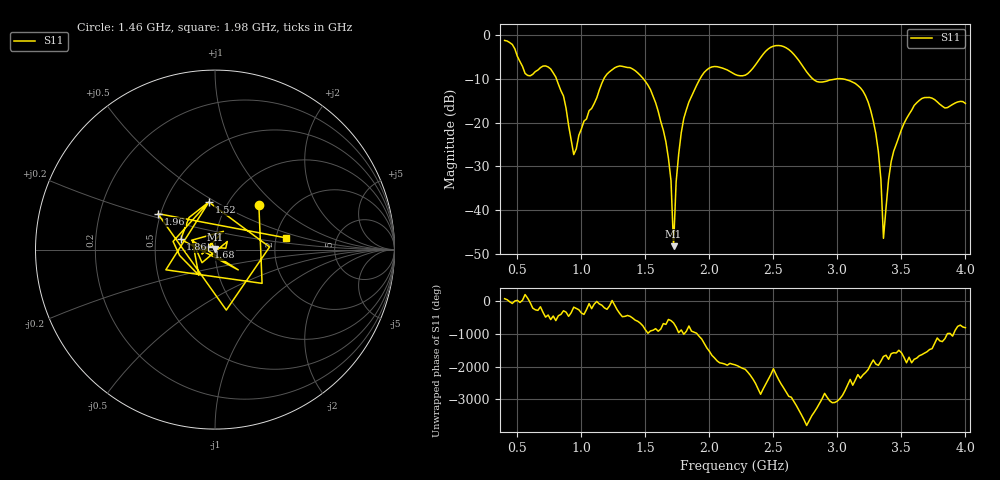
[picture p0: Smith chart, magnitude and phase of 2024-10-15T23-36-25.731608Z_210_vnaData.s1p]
! Created with skrf (http://scikit-rf.org).
# Hz S RI R 50.0
!freq ReS11 ImS11
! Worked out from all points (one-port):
!   181 points, 400 MHz to 4 GHz, reference 50 ohm
!   lowest |S11| = -48.3 dB at 1.72 GHz (marker M1), VSWR 1.01, Z = 50.2 + j0.311 ohm
!   |S11| at or under -10 dB: 805.2 MHz to 1.175 GHz (370.1 MHz wide, 37.4 % of centre); 1.485 GHz to 1.926 GHz (441.7 MHz wide, 25.9 % of centre); 3.043 GHz to end of sweep (the widest 3 of 4)
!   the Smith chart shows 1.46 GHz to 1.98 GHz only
!   S11 on the Smith chart (normalised r, x): 1.46 GHz: 1.39, +0.78; 1.52 GHz: 0.82, +0.47; 1.68 GHz: 0.93, +0.03; 1.86 GHz: 0.68, +0.08; 1.96 GHz: 0.48, +0.23; 1.98 GHz: 2.27, +0.35
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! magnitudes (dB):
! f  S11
! 400 MHz  -1.2
! 580 MHz  -9.2
! 760 MHz  -7.7
! 860 MHz  -13.9
! 940 MHz  -27.3
! 1.18 GHz  -9.7
! 1.3 GHz  -7.0
! 1.46 GHz  -9.2
! 1.52 GHz  -11.4
! 1.68 GHz  -28.2
! 1.7 GHz  -33.3
! 1.72 GHz  -48.3
! 1.74 GHz  -33.6
! 1.76 GHz  -27.2
! 1.86 GHz  -14.0
! 1.96 GHz  -8.5
! 1.98 GHz  -7.9
! 2.2 GHz  -9.0
! 2.5 GHz  -2.5
! 2.66 GHz  -4.4
! 2.84 GHz  -10.6
! 3.1 GHz  -10.5
! 3.28 GHz  -19.6
! 3.34 GHz  -33.0
! 3.36 GHz  -46.5
! 3.42 GHz  -29.0
! 3.56 GHz  -18.1
! 4 GHz  -15.6
